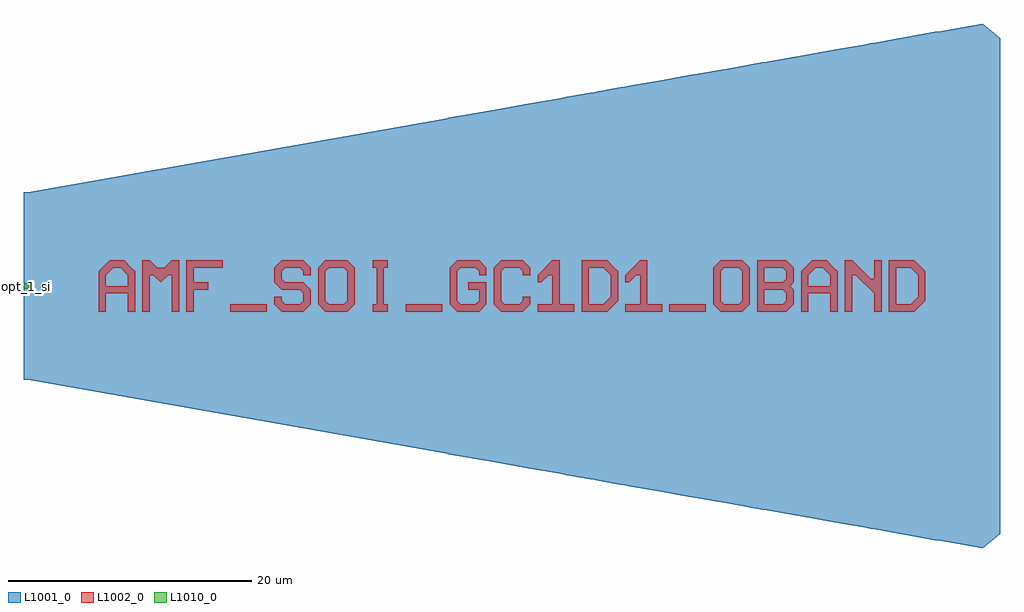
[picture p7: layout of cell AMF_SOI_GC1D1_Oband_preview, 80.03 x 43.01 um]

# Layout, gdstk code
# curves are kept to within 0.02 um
import gdstk
lib = gdstk.Library(unit=1e-6, precision=1e-09)
def R(c, l, rs):  # rectangles x0, y0, x1, y1
    for r in rs: c.add(gdstk.rectangle(r[:2], r[2:], *l))
def P(c, l, *ps):  # polygons
    for p in ps: c.add(gdstk.Polygon(p, *l))
L1001_0 = (1001, 0)
L1002_0 = (1002, 0)
L1010_0 = (1010, 0)

amf_soi_gc1d1_oband_prev = lib.new_cell('AMF_SOI_GC1D1_Oband_preview')
P(amf_soi_gc1d1_oband_prev, L1001_0, [(78.612,-21.505),(74.925,-20.855),(74.921,-20.877),(0.345,-7.705),(0,-7.705),(0,7.705),(0.345,7.705),(74.921,20.877),(74.925,20.855),(78.612,21.505),(80.028,20.317),(80.028,-20.317)])
R(amf_soi_gc1d1_oband_prev, L1002_0, [(16.914,-2.1,19.914,-1.5), (31.314,-2.1,34.314,-1.5), (52.914,-2.1,55.914,-1.5)])
P(amf_soi_gc1d1_oband_prev, L1002_0, [(6.114,-2.1),(6.114,1.2),(7.014,2.1),(8.214,2.1),(8.814,1.5),(7.314,1.5),(6.714,0.9),(6.714,0),(8.514,0),(8.514,0.9),(7.914,1.5),(8.814,1.5),(9.114,1.2),(9.114,-2.1),(8.514,-2.1),(8.514,-0.6),(6.714,-0.6),(6.714,-2.1)],
  [(9.714,-2.1),(9.714,2.1),(10.314,2.1),(10.914,1.5),(11.514,1.5),(12.114,2.1),(12.714,2.1),(12.714,-2.1),(12.114,-2.1),(12.114,0.9),(11.814,0.9),(11.214,0.3),(10.614,0.9),(10.314,0.9),(10.314,-2.1)],
  [(13.314,-2.1),(13.314,2.1),(16.314,2.1),(16.314,1.5),(13.914,1.5),(13.914,0.3),(15.114,0.3),(15.114,-0.3),(13.914,-0.3),(13.914,-2.1)],
  [(21.114,-2.1),(20.514,-1.5),(20.514,-0.9),(21.114,-0.9),(21.114,-1.2),(21.414,-1.5),(22.614,-1.5),(22.914,-1.2),(22.914,-0.6),(22.614,-0.3),(21.114,-0.3),(20.514,0.3),(20.514,1.5),(21.114,2.1),(22.914,2.1),(23.514,1.5),(23.514,0.9),(22.914,0.9),(22.914,1.2),(22.614,1.5),(21.414,1.5),(21.114,1.2),(21.114,0.6),(21.414,0.3),(22.914,0.3),(23.514,-0.3),(23.514,-1.5),(22.914,-2.1)],
  [(24.714,-2.1),(24.114,-1.5),(24.114,1.5),(24.714,2.1),(26.514,2.1),(27.114,1.5),(27.114,0),(26.514,0),(26.514,1.2),(26.214,1.5),(25.014,1.5),(24.714,1.2),(24.714,-1.2),(25.014,-1.5),(26.214,-1.5),(26.514,-1.2),(26.514,0),(27.114,0),(27.114,-1.5),(26.514,-2.1)],
  [(28.614,-2.1),(28.614,-1.5),(28.914,-1.5),(28.914,1.5),(28.614,1.5),(28.614,2.1),(29.814,2.1),(29.814,1.5),(29.514,1.5),(29.514,-1.5),(29.814,-1.5),(29.814,-2.1)],
  [(35.514,-2.1),(34.914,-1.5),(34.914,1.5),(35.514,2.1),(37.314,2.1),(37.914,1.5),(37.914,0.9),(37.314,0.9),(37.314,1.2),(37.014,1.5),(35.814,1.5),(35.514,1.2),(35.514,-1.2),(35.814,-1.5),(37.014,-1.5),(37.314,-1.2),(37.314,-0.3),(36.414,-0.3),(36.414,0.3),(37.914,0.3),(37.914,-1.5),(37.314,-2.1)],
  [(39.114,-2.1),(38.514,-1.5),(38.514,1.5),(39.114,2.1),(40.914,2.1),(41.514,1.5),(41.514,0.9),(40.914,0.9),(40.914,1.2),(40.614,1.5),(39.414,1.5),(39.114,1.2),(39.114,-1.2),(39.414,-1.5),(40.614,-1.5),(40.914,-1.2),(40.914,-0.9),(41.514,-0.9),(41.514,-1.5),(40.914,-2.1)],
  [(42.114,-2.1),(42.114,-1.5),(43.314,-1.5),(43.314,0.9),(43.014,0.9),(42.414,0.3),(42.114,0.3),(42.114,0.9),(43.314,2.1),(43.914,2.1),(43.914,-1.5),(45.114,-1.5),(45.114,-2.1)],
  [(45.714,-2.1),(45.714,2.1),(47.814,2.1),(48.414,1.5),(46.314,1.5),(46.314,-1.5),(47.514,-1.5),(48.114,-0.9),(48.114,0.9),(47.514,1.5),(48.414,1.5),(48.714,1.2),(48.714,-1.2),(47.814,-2.1)],
  [(49.314,-2.1),(49.314,-1.5),(50.514,-1.5),(50.514,0.9),(50.214,0.9),(49.614,0.3),(49.314,0.3),(49.314,0.9),(50.514,2.1),(51.114,2.1),(51.114,-1.5),(52.314,-1.5),(52.314,-2.1)],
  [(57.114,-2.1),(56.514,-1.5),(56.514,1.5),(57.114,2.1),(58.914,2.1),(59.514,1.5),(59.514,0),(58.914,0),(58.914,1.2),(58.614,1.5),(57.414,1.5),(57.114,1.2),(57.114,-1.2),(57.414,-1.5),(58.614,-1.5),(58.914,-1.2),(58.914,0),(59.514,0),(59.514,-1.5),(58.914,-2.1)],
  [(60.114,-2.1),(60.114,2.1),(62.514,2.1),(63.114,1.5),(60.714,1.5),(60.714,0.3),(62.214,0.3),(62.514,0.6),(62.514,1.2),(62.214,1.5),(63.114,1.5),(63.114,0.3),(62.814,0),(63.114,-0.3),(60.714,-0.3),(60.714,-1.5),(62.214,-1.5),(62.514,-1.2),(62.514,-0.6),(62.214,-0.3),(63.114,-0.3),(63.114,-1.5),(62.514,-2.1)],
  [(63.714,-2.1),(63.714,1.2),(64.614,2.1),(65.814,2.1),(66.414,1.5),(64.914,1.5),(64.314,0.9),(64.314,0),(66.114,0),(66.114,0.9),(65.514,1.5),(66.414,1.5),(66.714,1.2),(66.714,-2.1),(66.114,-2.1),(66.114,-0.6),(64.314,-0.6),(64.314,-2.1)],
  [(67.314,-2.1),(67.314,2.1),(67.914,2.1),(69.414,0.6),(69.714,0.6),(69.714,2.1),(70.314,2.1),(70.314,-2.1),(69.714,-2.1),(69.714,-0.6),(68.214,0.9),(67.914,0.9),(67.914,-2.1)],
  [(70.914,-2.1),(70.914,2.1),(73.014,2.1),(73.614,1.5),(71.514,1.5),(71.514,-1.5),(72.714,-1.5),(73.314,-0.9),(73.314,0.9),(72.714,1.5),(73.614,1.5),(73.914,1.2),(73.914,-1.2),(73.014,-2.1)])
R(amf_soi_gc1d1_oband_prev, L1010_0, [(0,-0.205,0.41,0.205)])
amf_soi_gc1d1_oband_prev.add(gdstk.Label('opt_1_si', (0,0), layer=1010, texttype=0))

lib.write_gds('AMF_SOI_GC1D1_Oband_preview.gds')
